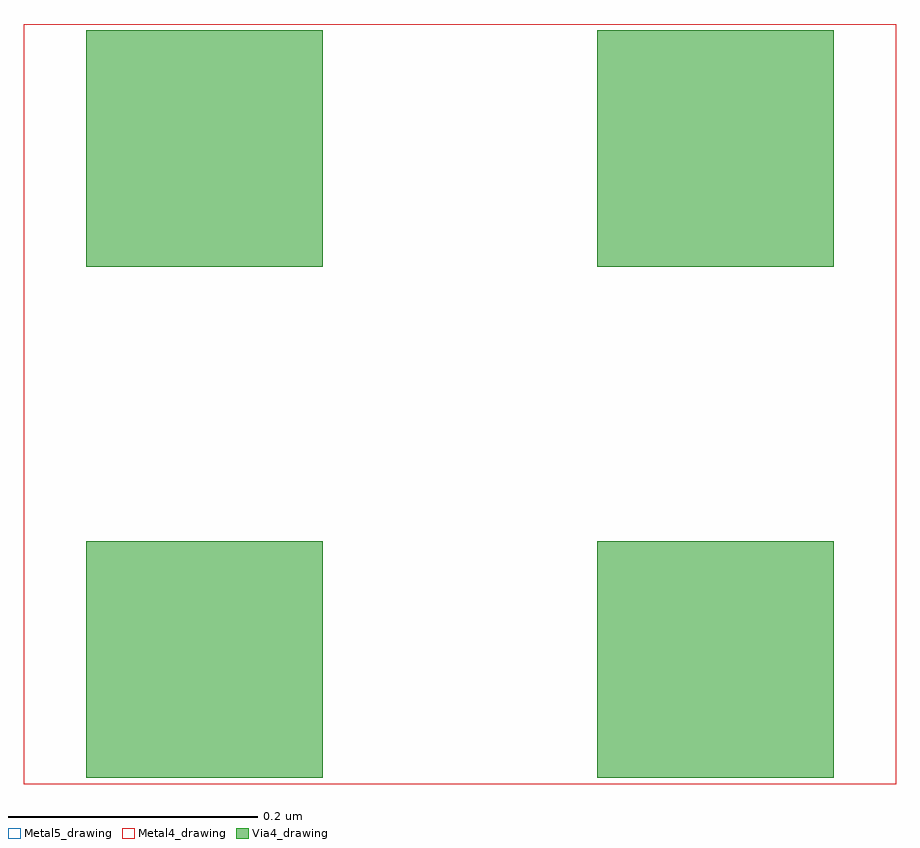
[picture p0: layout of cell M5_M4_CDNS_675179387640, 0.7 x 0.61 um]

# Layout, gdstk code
import gdstk
lib = gdstk.Library(unit=1e-6, precision=1e-09)
def R(c, l, rs):  # rectangles x0, y0, x1, y1
    for r in rs: c.add(gdstk.rectangle(r[:2], r[2:], *l))
Metal4_drawing = (50, 0)
Via4_drawing = (66, 0)
Metal5_drawing = (67, 0)

m5_m4_cdns_675179387640 = lib.new_cell('M5_M4_CDNS_675179387640')
R(m5_m4_cdns_675179387640, Metal4_drawing, [(-0.35,-0.305,0.35,0.305)])
R(m5_m4_cdns_675179387640, Via4_drawing, [(-0.3,-0.3,-0.11,-0.11), (0.11,-0.3,0.3,-0.11), (-0.3,0.11,-0.11,0.3), (0.11,0.11,0.3,0.3)])
R(m5_m4_cdns_675179387640, Metal5_drawing, [(-0.35,-0.305,0.35,0.305)])

lib.write_gds('M5_M4_CDNS_675179387640.gds')
